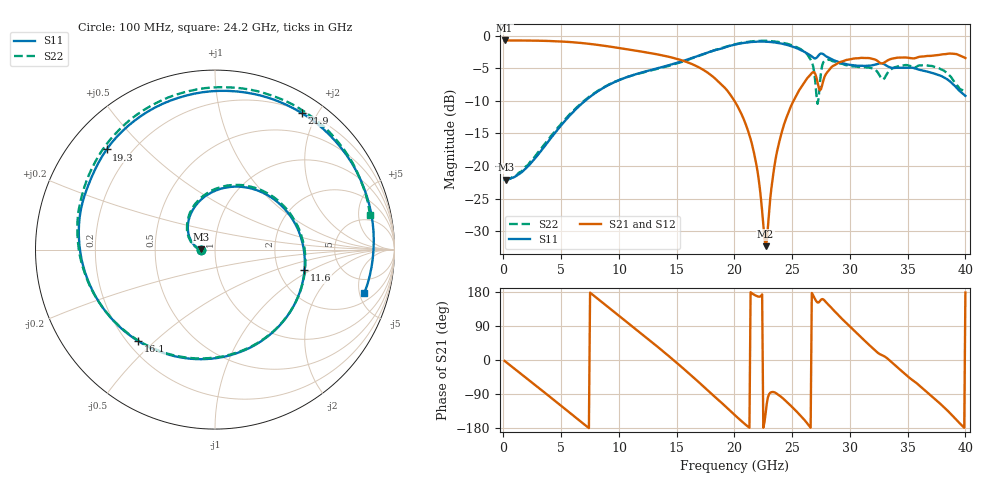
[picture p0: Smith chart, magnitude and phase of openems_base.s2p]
! BV_vna_rf_hblb1: LibreVNA RF_HBLB_PORT1, via F.Cu → In2.Cu with a 0.87 mm stub to B.Cu (CPWG feeds)
! stackup: VNA from the board file and its kisi.json
! ports: 1 in, 2 out
! openEMS 0.37.0, staircase, base mesh (dfine 0.035 mm), 1529280 cells
# Hz S RI R 50
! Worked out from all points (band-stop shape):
!   400 points, 100 MHz to 40 GHz, reference 50 ohm
!   highest |S21| = -0.71 dB at 100 MHz (marker M1); lowest = -32.3 dB at 22.7 GHz (marker M2)
!   |S21| within 3 dB of the highest: start of sweep to 15.35 GHz; 33.33 GHz to end of sweep (the widest 2 of 3)
!   lowest |S11| = -22.1 dB at 200 MHz (marker M3), VSWR 1.17, Z = 42.7 + j0.0532 ohm
!   |S11| at or under -10 dB: start of sweep to 7.058 GHz
!   |S22| runs from -22.1 to -0.8 dB; largest |S21 - S12| = 0.016
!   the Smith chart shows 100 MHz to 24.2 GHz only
!   S11 on the Smith chart (normalised r, x): 100 MHz: 0.85, +0.00; 11.6 GHz: 2.79, -0.86; 16.1 GHz: 0.24, -0.44; 19.3 GHz: 0.11, +0.39; 21.9 GHz: 0.22, +1.80; 24.2 GHz: 2.82, -5.54
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1e8  -0.0787 0.000387  0.9205 -0.0388  0.9204 -0.0385  -0.0784 -0.00056
2e8  -0.0787 0.000618  0.9179 -0.0773  0.9181 -0.077  -0.0793 -0.000344
3.6e9  -0.1341 0.0501  0.0514 -0.9132  0.0513 -0.9133  -0.139 0.053
6.8e9  -0.0546 0.2973  -0.8503 -0.2268  -0.8502 -0.2268  -0.0645 0.3004
9.5e9  0.3441 0.2682  -0.5155 0.6369  -0.5154 0.6368  0.3268 0.2925
1.16e10  0.4986 -0.114  0.1593 0.7487  0.1595 0.7488  0.5036 -0.0776
1.34e10  0.2999 -0.4791  0.5983 0.3968  0.5983 0.3968  0.3222 -0.4579
1.61e10  -0.427 -0.51  0.4972 -0.3673  0.4972 -0.3674  -0.4074 -0.5184
1.78e10  -0.7501 -0.0174  0.0611 -0.5088  0.0614 -0.509  -0.7459 -0.0644
1.93e10  -0.6038 0.5581  -0.2202 -0.3184  -0.2207 -0.3187  -0.6706 0.4828
2.01e10  -0.3347 0.7913  -0.2575 -0.1656  -0.2577 -0.1654  -0.4694 0.7261
2.19e10  0.4836 0.7608  -0.1007 0.0192  -0.1004 0.0195  0.2336 0.8831
2.27e10  0.7612 0.4836  -0.0189 -0.0151  -0.0188 -0.0151  0.5391 0.7401
2.42e10  0.8314 -0.2446  -0.0378 -0.192  -0.0385 -0.1907  0.8627 0.1924
2.67e10  -0.1507 -0.6778  -0.5168 0.0283  -0.514 0.027  0.2157 -0.5909
2.73e10  -0.3415 -0.622  -0.3536 0.1879  -0.3506 0.1846  0.2185 -0.2572
2.79e10  -0.5834 -0.3866  -0.4524 0.2249  -0.4536 0.2204  0.1904 -0.6157
2.9e10  -0.6255 0.081  -0.2966 0.5445  -0.2994 0.5491  -0.2446 -0.5683
3.13e10  -0.0671 0.5839  0.4313 0.5197  0.4405 0.5212  -0.5716 -0.0253
3.34e10  0.5008 0.2842  0.6568 -0.000153  0.6555 -0.0116  -0.4361 0.3115
3.69e10  0.1653 -0.498  -0.0112 -0.7007  -0.00814 -0.6873  0.1782 0.5613
4e10  -0.3185 -0.1348  -0.6742 0.0244  -0.6722 0.0125  0.3411 0.1521
